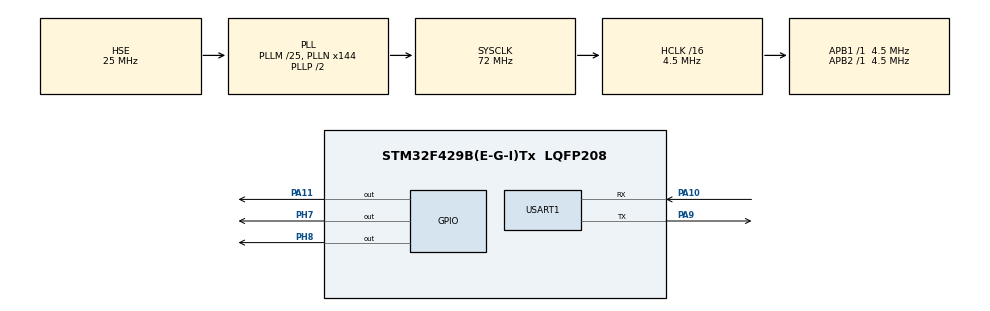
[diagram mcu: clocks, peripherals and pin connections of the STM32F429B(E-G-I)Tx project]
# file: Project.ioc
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Mcu.Family=STM32F4
Mcu.Name=STM32F429B(E-G-I)Tx
Mcu.Package=LQFP208
NVIC.PriorityGroup=NVIC_PRIORITYGROUP_4
NVIC.USART1_IRQn=true\:0\:0\:false\:false\:true\:true\:true\:true
PA10.Mode=Asynchronous
PA10.Signal=USART1_RX
PA11.Signal=GPIO_Output
PA13.Mode=Serial_Wire
PA13.Signal=SYS_JTMS-SWDIO
PA14.Mode=Serial_Wire
PA14.Signal=SYS_JTCK-SWCLK
PA9.Mode=Asynchronous
PA9.Signal=USART1_TX
PC14/OSC32_IN.Mode=LSE-External-Oscillator
PC14/OSC32_IN.Signal=RCC_OSC32_IN
PC15/OSC32_OUT.Mode=LSE-External-Oscillator
PC15/OSC32_OUT.Signal=RCC_OSC32_OUT
PH0/OSC_IN.Mode=HSE-External-Oscillator
PH0/OSC_IN.Signal=RCC_OSC_IN
PH1/OSC_OUT.Mode=HSE-External-Oscillator
PH1/OSC_OUT.Signal=RCC_OSC_OUT
PH7.GPIO_ModeDefaultOutputPP=GPIO_MODE_OUTPUT_PP
PH7.GPIO_PuPd=GPIO_NOPULL
PH7.Signal=GPIO_Output
PH8.GPIO_ModeDefaultOutputPP=GPIO_MODE_OUTPUT_PP
PH8.GPIO_PuPd=GPIO_NOPULL
PH8.PinState=GPIO_PIN_RESET
PH8.Signal=GPIO_Output
ProjectManager.HeapSize=0x200
ProjectManager.StackSize=0x400
ProjectManager.TargetToolchain=MDK-ARM V5.32
RCC.48MHZClocksFreq_Value=36000000
RCC.AHBCLKDivider=RCC_SYSCLK_DIV16
RCC.AHBFreq_Value=4500000
RCC.APB1Freq_Value=4500000
RCC.APB1TimFreq_Value=4500000
RCC.APB2Freq_Value=4500000
RCC.APB2TimFreq_Value=4500000
RCC.CortexFreq_Value=4500000
RCC.HCLKFreq_Value=4500000
RCC.HSE_VALUE=25000000
RCC.HSI_VALUE=16000000
RCC.PLLM=25
RCC.PLLN=144
RCC.PLLSourceVirtual=RCC_PLLSOURCE_HSE
RCC.SYSCLKFreq_VALUE=72000000
RCC.SYSCLKSource=RCC_SYSCLKSOURCE_PLLCLK
RCC.VCOOutputFreq_Value=144000000
USART1.VirtualMode=VM_ASYNC
board=custom

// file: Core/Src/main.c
/* USER CODE BEGIN Header */
/**
  ******************************************************************************
  * @file           main.c
  * @brief          Main program body
	* @version				primer
	* @author					C
	* @date						2022-08-29 11:04
	* @note           no lamp signal for stand by
  ******************************************************************************
  * @attention
  *
  * Copyright (c) 2022 STMicroelectronics.
  * All rights reserved.
  *
  * This software is licensed under terms that can be found in the LICENSE file
  * in the root directory of this software component.
  * If no LICENSE file comes with this software, it is provided AS-IS.
  *
  ******************************************************************************
  */
/* USER CODE END Header */
#include "main.h"
#include "usart.h"
#include "gpio.h"

/* USER CODE BEGIN Includes */
#include <Function.h>
#include <Table.h>
/* USER CODE END Includes */

/* USER CODE BEGIN PD */
/*register address*/
#define T1 0x40
#define T2 0x42
#define T5 0x44
/* USER CODE END PD */

/* USER CODE BEGIN PV */
unsigned char Wrong_Wh[3],Signal_Lost[3];//feature
uint16_t Counter=0x0000;//counter
uint8_t RxData[27];//Receive data
uint16_t LED_C;//Light signal
uint16_t Light;//Intermediate variables
unsigned char State;//condition
unsigned char Wrong_Num;//Number of fualt
unsigned char Strobe;//Blink mode
/* USER CODE END PV */

void SystemClock_Config(void);
/* USER CODE BEGIN PFP */
/*interrupt callback*/
void HAL_UART_RxCpltCallback(UART_HandleTypeDef *huart)
{
	HAL_UART_Receive_IT(&huart1,(uint8_t *)&RxData,27);
}
/* USER CODE END PFP */

int main(void)
{

  /* MCU Configuration--------------------------------------------------------*/

  /* Reset of all peripherals, Initializes the Flash interface and the Systick. */
  HAL_Init();

  /* Configure the system clock */
  SystemClock_Config();

  /* Initialize all configured peripherals */
  MX_GPIO_Init();
  MX_USART1_UART_Init();

  /* Infinite loop */
	State=0;
	I2C_Send(T1,Switch[State]);
	I2C_Send(T2,Switch[State]);

	HAL_UART_Receive_IT(&huart1,(uint8_t *)&RxData,27);
  /* USER CODE BEGIN WHILE */
  while(1)
  {
		LED_C=0xcbf2;
		Strobe=0;
		Wrong_Num=0;
		//1//
		{
			if(Signal_Lost[0]==1)
			{
				LED_C=LED_C&0xcbf2;
			}
			else if(Wrong_Wh[0]==1)
			{
				LED_C=LED_C&0xcbd2;
			}
			else
			{
				switch (State)
				{
					case 0:
					case 1:LED_C=LED_C&0xcbe2;Strobe=0;break;
					case 2:
					case 4:LED_C=LED_C&0xcbc2;Strobe=0;break;
					case 3:
					case 5:Strobe=1;break;
				}
			}
		}

		//2//
		{
			if(Signal_Lost[1]==1)
			{
				LED_C=LED_C&0xcbf2;
			}
			else if(Wrong_Wh[1]==1)
			{
				LED_C=LED_C&0xcb72;
			}
			else
			{
				switch (State)
				{
					case 0:
					case 5:LED_C=LED_C&0xcbf2;Strobe=0;break;
					case 2:
					case 3:LED_C=LED_C&0xcbb2;Strobe=0;break;
					case 1:
					case 4:Strobe=2;break;
				}
			}
		}

		//3//
		{
			if(Signal_Lost[2]==1)
			{
				LED_C=LED_C&0xcbf2;
			}
			else if(Wrong_Wh[2]==1)
			{
				LED_C=LED_C&0xc9f2;
			}
			else
			{
				switch (State)
				{
					case 4:
					case 5:LED_C=LED_C&0xcaf2;Strobe=0;break;
					case 1:
					case 3:LED_C=LED_C&0xcbf2;Strobe=0;break;
					case 0:
					case 2:Strobe=3;break;
				}
			}
		}
		Light=LED_C;
		for(int i=0;i<3;i++)
		{
			Wrong_Wh[i]=0;
			Signal_Lost[i]=0;
		}

		/*1*/
		switch (Strobe)
		{
			case 0:
			case 1:
			case 2:
			case 3:I2C_Send(T5,Light);break;
		}

		for(int i=0;i<27;i++)
		{
			RxData[i]=0x00;
		}
		Query(0x01,Counter);
		HAL_Delay(1000);
		switch (Check(0x01,RxData))
		{
			case 0:Wrong_Wh[0]=0;Signal_Lost[0]=0;break;
			case 1:Signal_Lost[0]=1;Wrong_Num++;break;
			case 2:Wrong_Wh[0]=1;Wrong_Num++;break;
		}
		/*2*/
		switch (Strobe)
		{
			case 0:I2C_Send(T5,Light);break;
			case 1:Light=Light&0x37dd;I2C_Send(T5,Light);break;
			case 2:Light=Light&0x377d ;I2C_Send(T5,Light);break;
			case 3:Light=Light&0x35fd;I2C_Send(T5,Light);break;
		}

		for(int i=0;i<27;i++)
		{
			RxData[i]=0x00;
		}
		Query(0x02,Counter);
		HAL_Delay(1000);
		switch (Check(0x02,RxData))
		{
			case 0:Wrong_Wh[1]=0;Signal_Lost[1]=0;break;
			case 1:Signal_Lost[1]=1;Wrong_Num++;break;
			case 2:Wrong_Wh[1]=1;Wrong_Num++;break;
		}
		/*3*/
		switch (Strobe)
		{
			case 0:
			case 1:
			case 2:
			case 3:I2C_Send(T5,LED_C);break;
		}
		for(int i=0;i<27;i++)
		RxData[i]=0x00;
		Query(0x03,Counter);
		HAL_Delay(1000);
		switch (Check(0x03,RxData))
		{
			case 0:Wrong_Wh[2]=0;Signal_Lost[2]=0;break;
			case 1:Signal_Lost[2]=1;Wrong_Num++;break;
			case 2:Wrong_Wh[2]=1;Wrong_Num++;break;
		}

		switch (Strobe)
		{
			case 0:
			case 1:
			case 2:
			case 3:I2C_Send(T5,Light);break;
		}

		/*decide*/
		if(Wrong_Num==1)
		{
			for(int i=0;i<3;i++)
			{
				if((Wrong_Wh[i]==1)||(Signal_Lost[i]==1))
				{
					if(State==0)
					{
						if(i==0)
						{
							State=5;
						}
						else if(i==1)
						{
							State=1;
						}
					}
					else if(State==1)
					{
						if(i==0)
						{
							State=3;
						}
						else if(i==2)
						{
							State=0;
						}
					}
					else if(State==2)
					{
						if(i==1)
						{
							State=4;
						}
						else if(i==0)
						{
							State=3;
						}
					}
					else if(State==3)
					{
						if(i==1)
						{
							State=1;
						}
						else if(i==2)
						{
							State=2;
						}
					}
					else if(State==4)
					{
						if(i==2)
						{
							State=2;
						}
						else if(i==0)
						{
							State=5;
						}
					}
					else if(State==5)
					{
						if(i==2)
						{
							State=0;
						}
						else if(i==1)
						{
							State=4;
						}
					}
				}
			}
			I2C_Send(T1,Switch[State]);
			I2C_Send(T2,Switch[State]);
		}
		HAL_Delay(1000);
		//
		Counter++;
		if(Counter>0xffff)
			Counter=0;
  }
}

void SystemClock_Config(void)
{
  RCC_OscInitTypeDef RCC_OscInitStruct = {0};
  RCC_ClkInitTypeDef RCC_ClkInitStruct = {0};

  /** Configure the main internal regulator output voltage
  */
  __HAL_RCC_PWR_CLK_ENABLE();
  __HAL_PWR_VOLTAGESCALING_CONFIG(PWR_REGULATOR_VOLTAGE_SCALE3);

  /** Initializes the RCC Oscillators according to the specified parameters
  * in the RCC_OscInitTypeDef structure.
  */
  RCC_OscInitStruct.OscillatorType = RCC_OSCILLATORTYPE_HSE;
  RCC_OscInitStruct.HSEState = RCC_HSE_ON;
  RCC_OscInitStruct.PLL.PLLState = RCC_PLL_ON;
  RCC_OscInitStruct.PLL.PLLSource = RCC_PLLSOURCE_HSE;
  RCC_OscInitStruct.PLL.PLLM = 25;
  RCC_OscInitStruct.PLL.PLLN = 144;
  RCC_OscInitStruct.PLL.PLLP = RCC_PLLP_DIV2;
  RCC_OscInitStruct.PLL.PLLQ = 4;
  if (HAL_RCC_OscConfig(&RCC_OscInitStruct) != HAL_OK)
  {
    Error_Handler();
  }

  /** Initializes the CPU, AHB and APB buses clocks
  */
  RCC_ClkInitStruct.ClockType = RCC_CLOCKTYPE_HCLK|RCC_CLOCKTYPE_SYSCLK
                              |RCC_CLOCKTYPE_PCLK1|RCC_CLOCKTYPE_PCLK2;
  RCC_ClkInitStruct.SYSCLKSource = RCC_SYSCLKSOURCE_PLLCLK;
  RCC_ClkInitStruct.AHBCLKDivider = RCC_SYSCLK_DIV16;
  RCC_ClkInitStruct.APB1CLKDivider = RCC_HCLK_DIV1;
  RCC_ClkInitStruct.APB2CLKDivider = RCC_HCLK_DIV1;

  if (HAL_RCC_ClockConfig(&RCC_ClkInitStruct, FLASH_LATENCY_0) != HAL_OK)
  {
    Error_Handler();
  }
}

void Error_Handler(void)
{
  __disable_irq();
  while (1)
  {
  }
}
